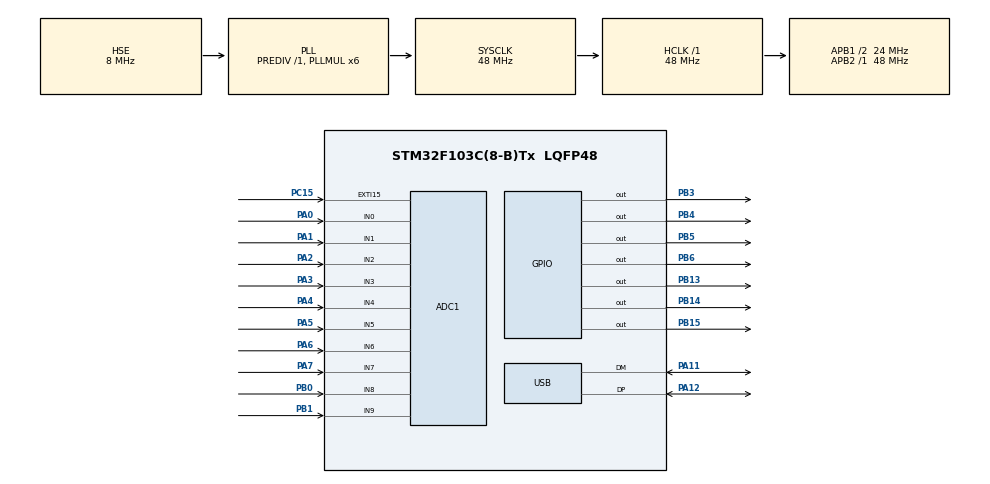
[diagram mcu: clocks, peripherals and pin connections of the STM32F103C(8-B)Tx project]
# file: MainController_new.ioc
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ADC1.Channel-1\#ChannelRegularConversion=ADC_CHANNEL_0
ADC1.Channel-10\#ChannelInjectedConversion=ADC_CHANNEL_8
ADC1.Channel-11\#ChannelInjectedConversion=ADC_CHANNEL_9
ADC1.Channel-13\#ChannelRegularConversion=ADC_CHANNEL_0
ADC1.Channel-2\#ChannelRegularConversion=ADC_CHANNEL_0
ADC1.Channel-3\#ChannelRegularConversion=ADC_CHANNEL_1
ADC1.Channel-4\#ChannelRegularConversion=ADC_CHANNEL_2
ADC1.Channel-5\#ChannelRegularConversion=ADC_CHANNEL_3
ADC1.Channel-6\#ChannelRegularConversion=ADC_CHANNEL_4
ADC1.Channel-7\#ChannelRegularConversion=ADC_CHANNEL_5
ADC1.Channel-8\#ChannelRegularConversion=ADC_CHANNEL_6
ADC1.Channel-9\#ChannelRegularConversion=ADC_CHANNEL_7
ADC1.ContinuousConvMode=DISABLE
ADC1.InjectedOffset-10\#ChannelInjectedConversion=0
ADC1.InjectedOffset-11\#ChannelInjectedConversion=0
ADC1.NbrOfConversionFlag=1
ADC1.Rank-1\#ChannelRegularConversion=1
ADC1.Rank-10\#ChannelInjectedConversion=1
ADC1.Rank-11\#ChannelInjectedConversion=2
ADC1.Rank-13\#ChannelRegularConversion=1
ADC1.Rank-2\#ChannelRegularConversion=1
ADC1.Rank-3\#ChannelRegularConversion=2
ADC1.Rank-4\#ChannelRegularConversion=3
ADC1.Rank-5\#ChannelRegularConversion=4
ADC1.Rank-6\#ChannelRegularConversion=5
ADC1.Rank-7\#ChannelRegularConversion=6
ADC1.Rank-8\#ChannelRegularConversion=7
ADC1.Rank-9\#ChannelRegularConversion=8
ADC1.SamplingTime-1\#ChannelRegularConversion=ADC_SAMPLETIME_1CYCLE_5
ADC1.SamplingTime-10\#ChannelInjectedConversion=ADC_SAMPLETIME_1CYCLE_5
ADC1.SamplingTime-11\#ChannelInjectedConversion=ADC_SAMPLETIME_1CYCLE_5
ADC1.SamplingTime-13\#ChannelRegularConversion=ADC_SAMPLETIME_1CYCLE_5
ADC1.SamplingTime-2\#ChannelRegularConversion=ADC_SAMPLETIME_1CYCLE_5
ADC1.SamplingTime-3\#ChannelRegularConversion=ADC_SAMPLETIME_1CYCLE_5
ADC1.SamplingTime-4\#ChannelRegularConversion=ADC_SAMPLETIME_1CYCLE_5
ADC1.SamplingTime-5\#ChannelRegularConversion=ADC_SAMPLETIME_1CYCLE_5
ADC1.SamplingTime-6\#ChannelRegularConversion=ADC_SAMPLETIME_1CYCLE_5
ADC1.SamplingTime-7\#ChannelRegularConversion=ADC_SAMPLETIME_1CYCLE_5
ADC1.SamplingTime-8\#ChannelRegularConversion=ADC_SAMPLETIME_1CYCLE_5
ADC1.SamplingTime-9\#ChannelRegularConversion=ADC_SAMPLETIME_1CYCLE_5
ADC1.master=1
Mcu.Family=STM32F1
Mcu.Name=STM32F103C(8-B)Tx
Mcu.Package=LQFP48
NVIC.PriorityGroup=NVIC_PRIORITYGROUP_4
NVIC.USB_LP_CAN1_RX0_IRQn=true\:0\:0\:false\:false\:true\:false
PA0-WKUP.Signal=ADCx_IN0
PA1.Signal=ADCx_IN1
PA11.Mode=Device
PA11.Signal=USB_DM
PA12.Mode=Device
PA12.Signal=USB_DP
PA13.Mode=Serial_Wire
PA13.Signal=SYS_JTMS-SWDIO
PA14.Mode=Serial_Wire
PA14.Signal=SYS_JTCK-SWCLK
PA2.Signal=ADCx_IN2
PA3.Signal=ADCx_IN3
PA4.Signal=ADCx_IN4
PA5.Signal=ADCx_IN5
PA6.Signal=ADCx_IN6
PA7.Signal=ADCx_IN7
PB0.Signal=ADCx_IN8
PB1.Signal=ADCx_IN9
PB13.GPIO_ModeDefaultOutputPP=GPIO_MODE_OUTPUT_PP
PB13.GPIO_Speed=GPIO_SPEED_FREQ_HIGH
PB13.PinState=GPIO_PIN_RESET
PB13.Signal=GPIO_Output
PB14.GPIO_ModeDefaultOutputPP=GPIO_MODE_OUTPUT_PP
PB14.GPIO_Speed=GPIO_SPEED_FREQ_HIGH
PB14.PinState=GPIO_PIN_RESET
PB14.Signal=GPIO_Output
PB15.GPIO_ModeDefaultOutputPP=GPIO_MODE_OUTPUT_PP
PB15.GPIO_Speed=GPIO_SPEED_FREQ_HIGH
PB15.PinState=GPIO_PIN_RESET
PB15.Signal=GPIO_Output
PB3.GPIO_ModeDefaultOutputPP=GPIO_MODE_OUTPUT_PP
PB3.GPIO_Speed=GPIO_SPEED_FREQ_HIGH
PB3.PinState=GPIO_PIN_RESET
PB3.Signal=GPIO_Output
PB4.GPIO_ModeDefaultOutputPP=GPIO_MODE_OUTPUT_PP
PB4.GPIO_Speed=GPIO_SPEED_FREQ_HIGH
PB4.PinState=GPIO_PIN_RESET
PB4.Signal=GPIO_Output
PB5.GPIO_ModeDefaultOutputPP=GPIO_MODE_OUTPUT_PP
PB5.GPIO_Speed=GPIO_SPEED_FREQ_HIGH
PB5.PinState=GPIO_PIN_RESET
PB5.Signal=GPIO_Output
PB6.GPIO_ModeDefaultOutputPP=GPIO_MODE_OUTPUT_PP
PB6.GPIO_Speed=GPIO_SPEED_FREQ_HIGH
PB6.PinState=GPIO_PIN_RESET
PB6.Signal=GPIO_Output
PC15-OSC32_OUT.Signal=GPXTI15
PD0-OSC_IN.Mode=HSE-External-Oscillator
PD0-OSC_IN.Signal=RCC_OSC_IN
PD1-OSC_OUT.Mode=HSE-External-Oscillator
PD1-OSC_OUT.Signal=RCC_OSC_OUT
ProjectManager.HeapSize=0x200
ProjectManager.StackSize=0x400
ProjectManager.TargetToolchain=TrueSTUDIO
RCC.ADCPresc=RCC_ADCPCLK2_DIV4
RCC.AHBFreq_Value=48000000
RCC.APB1CLKDivider=RCC_HCLK_DIV2
RCC.APB1Freq_Value=24000000
RCC.APB1TimFreq_Value=48000000
RCC.APB2Freq_Value=48000000
RCC.APB2TimFreq_Value=48000000
RCC.HCLKFreq_Value=48000000
RCC.PLLMUL=RCC_PLL_MUL6
RCC.SYSCLKFreq_VALUE=48000000
RCC.SYSCLKSource=RCC_SYSCLKSOURCE_PLLCLK
RCC.USBFreq_Value=48000000
SH.ADCx_IN0.0=ADC1_IN0,IN0
SH.ADCx_IN1.0=ADC1_IN1,IN1
SH.ADCx_IN2.0=ADC1_IN2,IN2
SH.ADCx_IN3.0=ADC1_IN3,IN3
SH.ADCx_IN4.0=ADC1_IN4,IN4
SH.ADCx_IN5.0=ADC1_IN5,IN5
SH.ADCx_IN6.0=ADC1_IN6,IN6
SH.ADCx_IN7.0=ADC1_IN7,IN7
SH.ADCx_IN8.0=ADC1_IN8,IN8
SH.ADCx_IN9.0=ADC1_IN9,IN9
USB_DEVICE.CLASS_NAME_FS=CDC
USB_DEVICE.VirtualMode=Cdc
USB_DEVICE.VirtualModeFS=Cdc_FS
VP_USB_DEVICE_VS_USB_DEVICE_CDC_FS.Mode=CDC_FS
board=MainController_new

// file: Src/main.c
/**
  ******************************************************************************
  * @file           : main.c
  * @brief          : Main program body
  ******************************************************************************
  * This notice applies to any and all portions of this file
  * that are not between comment pairs USER CODE BEGIN and
  * USER CODE END. Other portions of this file, whether
  * inserted by the user or by software development tools
  * are owned by their respective copyright owners.
  *
  * Copyright (c) 2018 STMicroelectronics International N.V.
  * All rights reserved.
  *
  * Redistribution and use in source and binary forms, with or without
  * modification, are permitted, provided that the following conditions are met:
  *
  * 1. Redistribution of source code must retain the above copyright notice,
  *    this list of conditions and the following disclaimer.
  * 2. Redistributions in binary form must reproduce the above copyright notice,
  *    this list of conditions and the following disclaimer in the documentation
  *    and/or other materials provided with the distribution.
  * 3. Neither the name of STMicroelectronics nor the names of other
  *    contributors to this software may be used to endorse or promote products
  *    derived from this software without specific written permission.
  * 4. This software, including modifications and/or derivative works of this
  *    software, must execute solely and exclusively on microcontroller or
  *    microprocessor devices manufactured by or for STMicroelectronics.
  * 5. Redistribution and use of this software other than as permitted under
  *    this license is void and will automatically terminate your rights under
  *    this license.
  *
  * THIS SOFTWARE IS PROVIDED BY STMICROELECTRONICS AND CONTRIBUTORS "AS IS"
  * AND ANY EXPRESS, IMPLIED OR STATUTORY WARRANTIES, INCLUDING, BUT NOT
  * LIMITED TO, THE IMPLIED WARRANTIES OF MERCHANTABILITY, FITNESS FOR A
  * PARTICULAR PURPOSE AND NON-INFRINGEMENT OF THIRD PARTY INTELLECTUAL PROPERTY
  * RIGHTS ARE DISCLAIMED TO THE FULLEST EXTENT PERMITTED BY LAW. IN NO EVENT
  * SHALL STMICROELECTRONICS OR CONTRIBUTORS BE LIABLE FOR ANY DIRECT, INDIRECT,
  * INCIDENTAL, SPECIAL, EXEMPLARY, OR CONSEQUENTIAL DAMAGES (INCLUDING, BUT NOT
  * LIMITED TO, PROCUREMENT OF SUBSTITUTE GOODS OR SERVICES; LOSS OF USE, DATA,
  * OR PROFITS; OR BUSINESS INTERRUPTION) HOWEVER CAUSED AND ON ANY THEORY OF
  * LIABILITY, WHETHER IN CONTRACT, STRICT LIABILITY, OR TORT (INCLUDING
  * NEGLIGENCE OR OTHERWISE) ARISING IN ANY WAY OUT OF THE USE OF THIS SOFTWARE,
  * EVEN IF ADVISED OF THE POSSIBILITY OF SUCH DAMAGE.
  *
  ******************************************************************************
  */
#include "main.h"
#include "stm32f1xx_hal.h"
#include "usb_device.h"

/* USER CODE BEGIN Includes */
#include <stdio.h>
#include <stdlib.h>
#include "tactile_read.h"
#include "spike_conv.h"
#include "usb_comm.h"
#include "usbd_cdc_if.h"
/* USER CODE END Includes */

ADC_HandleTypeDef hadc1;

/* USER CODE BEGIN PV */
/* Private variables ---------------------------------------------------------*/

TR_HandleTypeDef htr;
SpikeConv_HandleTypeDef hsc;
USBComm_HandleTypeDef huc;
extern USBD_HandleTypeDef hUsbDeviceFS;
int MAX_NUM_VALUES = 16;

/* USER CODE END PV */

void SystemClock_Config(void);
static void MX_GPIO_Init(void);
static void MX_ADC1_Init(void);

/* USER CODE BEGIN PFP */
/* Private function prototypes -----------------------------------------------*/
static void MX_GPIO_InitAnalog(void);
/* USER CODE END PFP */

int main(void)
{

  /* MCU Configuration----------------------------------------------------------*/

  /* Reset of all peripherals, Initializes the Flash interface and the Systick. */
  HAL_Init();

  /* Configure the system clock */
  SystemClock_Config();

  /* Initialize all configured peripherals */
  MX_GPIO_Init();

  /* USER CODE BEGIN 2 */
  MX_GPIO_InitAnalog();
  /* USER CODE END 2 */

  MX_ADC1_Init();
  MX_USB_DEVICE_Init();

  /* Infinite loop */
  /* USER CODE BEGIN WHILE */

  /* Initialize custom handles */
  TR_Init(&htr);
  SpikeConv_Init(&hsc);
  USBComm_Init(&huc);

  HAL_ADC_Start(&hadc1);
  while (1)
  {
  /* USER CODE END WHILE */

  /* USER CODE BEGIN 3 */
  TR_NextState(&htr);
  SpikeConv_NextState(&hsc);
  USBComm_NextState(&huc);
//	HAL_GPIO_WritePin(GPIOB, GPIO_PIN_3, GPIO_PIN_SET);
//	HAL_Delay(1000);
//	HAL_GPIO_WritePin(GPIOB, GPIO_PIN_3, GPIO_PIN_RESET);
//	HAL_Delay(100);
//	if(HAL_ADC_PollForConversion(&hadc1, 1000) != HAL_OK){
//		//
//	}else{
//		uint8_t buff[4];
//		uint16_t temp = HAL_ADC_GetValue(&hadc1);
//		buff[2] = temp>>8;//temp % 256;
//		buff[1] = temp&0xff;//temp / 256;
//		buff[0]=1;
//		buff[3]=2;
//
//		CDC_Transmit_FS(buff, 4);
//	}

  }
  /* USER CODE END 3 */
  USBComm_Deinit(&huc);
  TR_Deinit(&htr);
  SpikeConv_Deinit(&hsc);
  return 0;
}

void SystemClock_Config(void)
{

  RCC_OscInitTypeDef RCC_OscInitStruct;
  RCC_ClkInitTypeDef RCC_ClkInitStruct;
  RCC_PeriphCLKInitTypeDef PeriphClkInit;

    /**Initializes the CPU, AHB and APB busses clocks
    */
  RCC_OscInitStruct.OscillatorType = RCC_OSCILLATORTYPE_HSE;
  RCC_OscInitStruct.HSEState = RCC_HSE_ON;
  RCC_OscInitStruct.HSEPredivValue = RCC_HSE_PREDIV_DIV1;
  RCC_OscInitStruct.HSIState = RCC_HSI_ON;
  RCC_OscInitStruct.PLL.PLLState = RCC_PLL_ON;
  RCC_OscInitStruct.PLL.PLLSource = RCC_PLLSOURCE_HSE;
  RCC_OscInitStruct.PLL.PLLMUL = RCC_PLL_MUL6;
  if (HAL_RCC_OscConfig(&RCC_OscInitStruct) != HAL_OK)
  {
    _Error_Handler(__FILE__, __LINE__);
  }

    /**Initializes the CPU, AHB and APB busses clocks
    */
  RCC_ClkInitStruct.ClockType = RCC_CLOCKTYPE_HCLK|RCC_CLOCKTYPE_SYSCLK
                              |RCC_CLOCKTYPE_PCLK1|RCC_CLOCKTYPE_PCLK2;
  RCC_ClkInitStruct.SYSCLKSource = RCC_SYSCLKSOURCE_PLLCLK;
  RCC_ClkInitStruct.AHBCLKDivider = RCC_SYSCLK_DIV1;
  RCC_ClkInitStruct.APB1CLKDivider = RCC_HCLK_DIV2;
  RCC_ClkInitStruct.APB2CLKDivider = RCC_HCLK_DIV1;

  if (HAL_RCC_ClockConfig(&RCC_ClkInitStruct, FLASH_LATENCY_1) != HAL_OK)
  {
    _Error_Handler(__FILE__, __LINE__);
  }

  PeriphClkInit.PeriphClockSelection = RCC_PERIPHCLK_ADC|RCC_PERIPHCLK_USB;
  PeriphClkInit.AdcClockSelection = RCC_ADCPCLK2_DIV4;
  PeriphClkInit.UsbClockSelection = RCC_USBCLKSOURCE_PLL;
  if (HAL_RCCEx_PeriphCLKConfig(&PeriphClkInit) != HAL_OK)
  {
    _Error_Handler(__FILE__, __LINE__);
  }

    /**Configure the Systick interrupt time
    */
  HAL_SYSTICK_Config(HAL_RCC_GetHCLKFreq()/1000);

    /**Configure the Systick
    */
  HAL_SYSTICK_CLKSourceConfig(SYSTICK_CLKSOURCE_HCLK);

  /* SysTick_IRQn interrupt configuration */
  HAL_NVIC_SetPriority(SysTick_IRQn, 0, 0);
}

/* ADC1 init function */
static void MX_ADC1_Init(void)
{

	ADC_ChannelConfTypeDef sConfig;

	/**Common config
	*/
	hadc1.Instance = ADC1;
	hadc1.Init.ScanConvMode = ADC_SCAN_ENABLE;
	hadc1.Init.ContinuousConvMode = ENABLE;
	hadc1.Init.DiscontinuousConvMode = DISABLE;
	hadc1.Init.ExternalTrigConv = ADC_SOFTWARE_START;
	hadc1.Init.DataAlign = ADC_DATAALIGN_RIGHT;
	hadc1.Init.NbrOfConversion = 1;
	if (HAL_ADC_Init(&hadc1) != HAL_OK){
		_Error_Handler(__FILE__, __LINE__);
	}

	/**Configure Regular Channel
	*/
//	sConfig.Channel = ADC_CHANNEL_0;
//	sConfig.Rank = ADC_REGULAR_RANK_1;
//	sConfig.SamplingTime = ADC_SAMPLETIME_71CYCLES_5;
//	if (HAL_ADC_ConfigChannel(&hadc1, &sConfig) != HAL_OK){
//		_Error_Handler(__FILE__, __LINE__);
//	}
	sConfig.SamplingTime = ADC_SAMPLETIME_41CYCLES_5;
	sConfig.Rank = 1;
	sConfig.Channel = ADC_CHANNEL_0;
	if (HAL_ADC_ConfigChannel(&hadc1, &sConfig) != HAL_OK){
		_Error_Handler(__FILE__, __LINE__);
	}

//	sConfig.Rank = 2;
//	sConfig.Channel = ADC_CHANNEL_1;
//	if (HAL_ADC_ConfigChannel(&hadc1, &sConfig) != HAL_OK){
//		_Error_Handler(__FILE__, __LINE__);
//	}
//
//	sConfig.Rank = 3;
//	sConfig.Channel = ADC_CHANNEL_2;
//	if (HAL_ADC_ConfigChannel(&hadc1, &sConfig) != HAL_OK){
//		_Error_Handler(__FILE__, __LINE__);
//	}
//
//	sConfig.Rank = 4;
//	sConfig.Channel = ADC_CHANNEL_3;
//	if (HAL_ADC_ConfigChannel(&hadc1, &sConfig) != HAL_OK){
//		_Error_Handler(__FILE__, __LINE__);
//	}

}

/** Configure pins as
        * Analog
        * Input
        * Output
        * EVENT_OUT
        * EXTI
*/
static void MX_GPIO_Init(void)
{

  GPIO_InitTypeDef GPIO_InitStruct;

  /* GPIO Ports Clock Enable */
  __HAL_RCC_GPIOC_CLK_ENABLE();
  __HAL_RCC_GPIOD_CLK_ENABLE();
  __HAL_RCC_GPIOA_CLK_ENABLE();
  __HAL_RCC_GPIOB_CLK_ENABLE();

  /*Configure GPIO pin Output Level */
  HAL_GPIO_WritePin(GPIOB, GPIO_PIN_13|GPIO_PIN_14|GPIO_PIN_15|GPIO_PIN_3
                          |GPIO_PIN_4|GPIO_PIN_5|GPIO_PIN_6, GPIO_PIN_RESET);

  /*Configure GPIO pin : PC15 */
  GPIO_InitStruct.Pin = GPIO_PIN_15;
  GPIO_InitStruct.Mode = GPIO_MODE_IT_RISING;
  GPIO_InitStruct.Pull = GPIO_NOPULL;
  HAL_GPIO_Init(GPIOC, &GPIO_InitStruct);

  /*Configure GPIO pins : PB13 PB14 PB15 PB3
                           PB4 PB5 PB6 */
  GPIO_InitStruct.Pin = GPIO_PIN_13|GPIO_PIN_14|GPIO_PIN_15|GPIO_PIN_3
                          |GPIO_PIN_4|GPIO_PIN_5|GPIO_PIN_6;
  GPIO_InitStruct.Mode = GPIO_MODE_OUTPUT_PP;
  GPIO_InitStruct.Speed = GPIO_SPEED_FREQ_HIGH;
  HAL_GPIO_Init(GPIOB, &GPIO_InitStruct);

}

/* USER CODE BEGIN 4 */
static void MX_GPIO_InitAnalog(void)
{

  GPIO_InitTypeDef GPIO_InitStruct;

  /* GPIO Ports' Clock have already been enabled */

  /*Configure GPIO Analog pins A0-9 */
  GPIO_InitStruct.Pin = GPIO_PIN_0|GPIO_PIN_1|GPIO_PIN_2|GPIO_PIN_3
                            |GPIO_PIN_4|GPIO_PIN_5|GPIO_PIN_6|GPIO_PIN_7|GPIO_PIN_8|GPIO_PIN_9;
  GPIO_InitStruct.Mode = GPIO_MODE_ANALOG;
  HAL_GPIO_Init(GPIOA, &GPIO_InitStruct);
}

/* USER CODE END 4 */

void _Error_Handler(char *file, int line)
{
  while(1)
  {
  }
}

/************************ (C) COPYRIGHT STMicroelectronics *****END OF FILE****/
